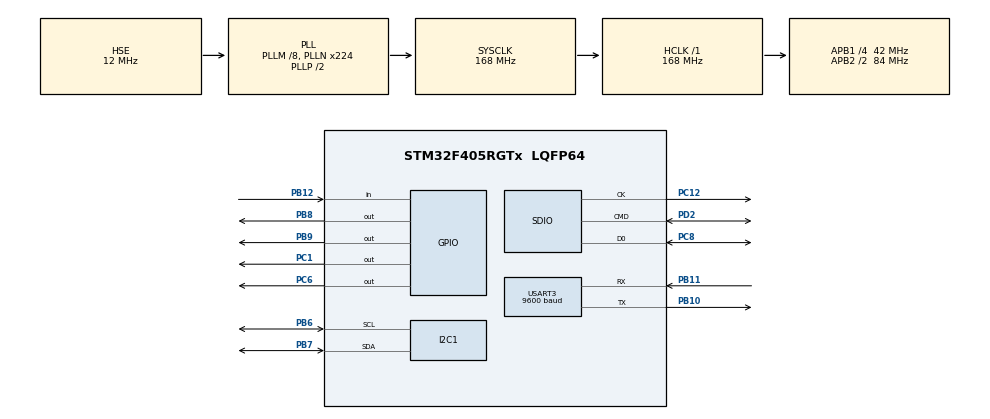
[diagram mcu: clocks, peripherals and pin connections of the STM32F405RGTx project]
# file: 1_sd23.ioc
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Dma.Request0=SDIO_RX
Dma.Request1=SDIO_TX
Dma.Request2=USART3_TX
Dma.Request3=USART3_RX
Dma.SDIO_RX.0.Direction=DMA_PERIPH_TO_MEMORY
Dma.SDIO_RX.0.FIFOMode=DMA_FIFOMODE_ENABLE
Dma.SDIO_RX.0.FIFOThreshold=DMA_FIFO_THRESHOLD_FULL
Dma.SDIO_RX.0.Instance=DMA2_Stream3
Dma.SDIO_RX.0.MemBurst=DMA_MBURST_INC4
Dma.SDIO_RX.0.MemDataAlignment=DMA_MDATAALIGN_WORD
Dma.SDIO_RX.0.MemInc=DMA_MINC_ENABLE
Dma.SDIO_RX.0.Mode=DMA_PFCTRL
Dma.SDIO_RX.0.PeriphBurst=DMA_PBURST_INC4
Dma.SDIO_RX.0.PeriphDataAlignment=DMA_PDATAALIGN_WORD
Dma.SDIO_RX.0.PeriphInc=DMA_PINC_DISABLE
Dma.SDIO_RX.0.Priority=DMA_PRIORITY_LOW
Dma.SDIO_TX.1.Direction=DMA_MEMORY_TO_PERIPH
Dma.SDIO_TX.1.FIFOMode=DMA_FIFOMODE_ENABLE
Dma.SDIO_TX.1.FIFOThreshold=DMA_FIFO_THRESHOLD_FULL
Dma.SDIO_TX.1.Instance=DMA2_Stream6
Dma.SDIO_TX.1.MemBurst=DMA_MBURST_INC4
Dma.SDIO_TX.1.MemDataAlignment=DMA_MDATAALIGN_WORD
Dma.SDIO_TX.1.MemInc=DMA_MINC_ENABLE
Dma.SDIO_TX.1.Mode=DMA_PFCTRL
Dma.SDIO_TX.1.PeriphBurst=DMA_PBURST_INC4
Dma.SDIO_TX.1.PeriphDataAlignment=DMA_PDATAALIGN_WORD
Dma.SDIO_TX.1.PeriphInc=DMA_PINC_DISABLE
Dma.SDIO_TX.1.Priority=DMA_PRIORITY_LOW
Dma.USART3_RX.3.Direction=DMA_PERIPH_TO_MEMORY
Dma.USART3_RX.3.FIFOMode=DMA_FIFOMODE_DISABLE
Dma.USART3_RX.3.Instance=DMA1_Stream1
Dma.USART3_RX.3.MemDataAlignment=DMA_MDATAALIGN_BYTE
Dma.USART3_RX.3.MemInc=DMA_MINC_ENABLE
Dma.USART3_RX.3.Mode=DMA_NORMAL
Dma.USART3_RX.3.PeriphDataAlignment=DMA_PDATAALIGN_BYTE
Dma.USART3_RX.3.PeriphInc=DMA_PINC_DISABLE
Dma.USART3_RX.3.Priority=DMA_PRIORITY_LOW
Dma.USART3_TX.2.Direction=DMA_MEMORY_TO_PERIPH
Dma.USART3_TX.2.FIFOMode=DMA_FIFOMODE_DISABLE
Dma.USART3_TX.2.Instance=DMA1_Stream3
Dma.USART3_TX.2.MemDataAlignment=DMA_MDATAALIGN_BYTE
Dma.USART3_TX.2.MemInc=DMA_MINC_ENABLE
Dma.USART3_TX.2.Mode=DMA_NORMAL
Dma.USART3_TX.2.PeriphDataAlignment=DMA_PDATAALIGN_BYTE
Dma.USART3_TX.2.PeriphInc=DMA_PINC_DISABLE
Dma.USART3_TX.2.Priority=DMA_PRIORITY_LOW
FATFS.BSP.number=1
FATFS.USE_DMA_CODE_SD=1
FATFS0.BSP.STBoard=false
FATFS0.BSP.api=Unknown
FATFS0.BSP.instance=PB12
FATFS0.BSP.ip=GPIO
FATFS0.BSP.mode=Input
FATFS0.BSP.name=Detect_SDIO
FATFS0.BSP.solution=PB12
I2C1.I2C_Mode=I2C_Fast
Mcu.Family=STM32F4
Mcu.Name=STM32F405RGTx
Mcu.Package=LQFP64
NVIC.DMA1_Stream1_IRQn=true\:0\:0\:false\:false\:true\:false\:true\:true
NVIC.DMA1_Stream3_IRQn=true\:0\:0\:false\:false\:true\:false\:true\:true
NVIC.DMA2_Stream3_IRQn=true\:0\:0\:false\:false\:true\:false\:true\:true
NVIC.DMA2_Stream6_IRQn=true\:0\:0\:false\:false\:true\:false\:true\:true
NVIC.PriorityGroup=NVIC_PRIORITYGROUP_4
NVIC.SDIO_IRQn=true\:0\:0\:false\:false\:true\:true\:true\:true
PA13.Mode=Serial_Wire
PA13.Signal=SYS_JTMS-SWDIO
PA14.Mode=Serial_Wire
PA14.Signal=SYS_JTCK-SWCLK
PB10.Mode=Asynchronous
PB10.Signal=USART3_TX
PB11.Mode=Asynchronous
PB11.Signal=USART3_RX
PB12.Signal=GPIO_Input
PB6.Mode=I2C
PB6.Signal=I2C1_SCL
PB7.Mode=I2C
PB7.Signal=I2C1_SDA
PB8.Signal=GPIO_Output
PB9.Signal=GPIO_Output
PC1.Signal=GPIO_Output
PC12.GPIO_PuPd=GPIO_NOPULL
PC12.Mode=SD_1_bit
PC12.Signal=SDIO_CK
PC6.PinState=GPIO_PIN_RESET
PC6.Signal=GPIO_Output
PC8.GPIO_PuPd=GPIO_PULLUP
PC8.Mode=SD_1_bit
PC8.Signal=SDIO_D0
PD2.GPIO_PuPd=GPIO_PULLUP
PD2.Mode=SD_1_bit
PD2.Signal=SDIO_CMD
PH0-OSC_IN.Mode=HSE-External-Oscillator
PH0-OSC_IN.Signal=RCC_OSC_IN
PH1-OSC_OUT.Mode=HSE-External-Oscillator
PH1-OSC_OUT.Signal=RCC_OSC_OUT
ProjectManager.HeapSize=0x200
ProjectManager.StackSize=0x400
ProjectManager.TargetToolchain=STM32CubeIDE
RCC.48MHZClocksFreq_Value=48000000
RCC.AHBFreq_Value=168000000
RCC.APB1CLKDivider=RCC_HCLK_DIV4
RCC.APB1Freq_Value=42000000
RCC.APB1TimFreq_Value=84000000
RCC.APB2CLKDivider=RCC_HCLK_DIV2
RCC.APB2Freq_Value=84000000
RCC.APB2TimFreq_Value=168000000
RCC.CortexFreq_Value=168000000
RCC.DATA_CACHE_ENABLE=0
RCC.HCLKFreq_Value=168000000
RCC.HSE_VALUE=12000000
RCC.HSI_VALUE=16000000
RCC.INSTRUCTION_CACHE_ENABLE=0
RCC.LSE_VALUE=32768
RCC.PLLM=8
RCC.PLLN=224
RCC.PLLQ=7
RCC.PLLSourceVirtual=RCC_PLLSOURCE_HSE
RCC.PREFETCH_ENABLE=0
RCC.SYSCLKFreq_VALUE=168000000
RCC.SYSCLKSource=RCC_SYSCLKSOURCE_PLLCLK
RCC.VCOOutputFreq_Value=336000000
USART3.BaudRate=9600
USART3.VirtualMode=VM_ASYNC
VP_FATFS_VS_SDIO.Mode=SDIO
board=custom

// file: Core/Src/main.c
/* USER CODE BEGIN Header */
/**
  ******************************************************************************
  * @file           : main.c
  * @brief          : Main program body
  ******************************************************************************
  * @attention
  *
  * Copyright (c) 2023 STMicroelectronics.
  * All rights reserved.
  *
  * This software is licensed under terms that can be found in the LICENSE file
  * in the root directory of this software component.
  * If no LICENSE file comes with this software, it is provided AS-IS.
  *
  ******************************************************************************
  */
/* USER CODE END Header */
#include "main.h"
#include "fatfs.h"

/* USER CODE BEGIN Includes */
#include "bluetooth.h"
#include <math.h>

/* USER CODE END Includes */

I2C_HandleTypeDef hi2c1;

SD_HandleTypeDef hsd;
DMA_HandleTypeDef hdma_sdio_rx;
DMA_HandleTypeDef hdma_sdio_tx;

UART_HandleTypeDef huart3;
DMA_HandleTypeDef hdma_usart3_tx;
DMA_HandleTypeDef hdma_usart3_rx;

/* USER CODE BEGIN PV */
BluetoothConfig bluetoothConfig = {
		  .uart = &huart3,
};
BluetoothController bluetoothController;

/* USER CODE END PV */

void SystemClock_Config(void);
static void MX_GPIO_Init(void);
static void MX_DMA_Init(void);
static void MX_I2C1_Init(void);
static void MX_SDIO_SD_Init(void);
static void MX_USART3_UART_Init(void);
/* USER CODE BEGIN PFP */

// IMU related functions
HAL_StatusTypeDef InitIMU();
uint16_t GetAccel();
// File I/O related functions
FRESULT InitFS();

void HAL_UART_RxCpltCallback(UART_HandleTypeDef *huart);
void HAL_UART_TxCpltCallback(UART_HandleTypeDef *huart);

/* USER CODE END PFP */

int main(void)
{

  /* MCU Configuration--------------------------------------------------------*/

  /* Reset of all peripherals, Initializes the Flash interface and the Systick. */
  HAL_Init();

  /* Configure the system clock */
  SystemClock_Config();

  /* Initialize all configured peripherals */
  MX_GPIO_Init();
  MX_DMA_Init();
  MX_I2C1_Init();
  MX_SDIO_SD_Init();
  MX_FATFS_Init();
  MX_USART3_UART_Init();
  /* USER CODE BEGIN 2 */

  FATFS fs;
  HAL_StatusTypeDef ret;
  FRESULT fres;
  FIL f;

  fres = InitFS(&fs);
  if (fres != FR_OK) {
	  Error_Handler();
  }

  HAL_StatusTypeDef res = InitIMU();
  if (res != HAL_OK) {
	  Error_Handler();
  }

  bluetoothConfig.uart->RxCpltCallback = HAL_UART_RxCpltCallback;
  bluetoothConfig.uart->TxCpltCallback = HAL_UART_TxCpltCallback;
  bluetooth_init(&bluetoothConfig, &bluetoothController);

  //Junk begins here
  uint16_t count = 0;
  double val = 0.0;
  double val_x_d = 0.0;
  double val_y_d = 0.0;
  double val_z_d = 0.0;
  int16_t val_x = 0;
  int16_t val_y = 0;
  int16_t val_z = 0;
  uint8_t buf[6] = {0, 0, 0, 0, 0, 0} ;
  uint8_t str[20];
  UINT writeBytes = 0;
  double max_value = 0;
  int sample_count = 50;

  fres = f_open(&f, "log3.txt", FA_CREATE_ALWAYS| FA_WRITE);
  if (fres != FR_OK){
	  Error_Handler();
  }

  /* USER CODE END 2 */

  /* Infinite loop */
  while (1)
  {

    /* USER CODE BEGIN 3 */

	  //HAL_GPIO_TogglePin(GPIOC, GPIO_PIN_1);
	  //HAL_Delay(100);

		ret = HAL_I2C_Mem_Read(&hi2c1, ADXL343_ADDR, ADXL343_REG_DATAX0, 1, buf, 6, 10);
		if (ret != HAL_OK) {
			Error_Handler();
		}

		val_x = (buf[1] << 8) + buf[0];
		val_x_d = ADXL343_SCALE_8G * ((double)val_x);
		val_y = (buf[3] << 8) + buf[2];
		val_y_d = ADXL343_SCALE_8G * ((double)val_y);
		val_z = (buf[5] << 8) + buf[4];
		val_z_d = ADXL343_SCALE_8G * ((double)val_z);
//		val = val_y_d;
		val = sqrt(val_x_d*val_x_d + val_y_d*val_y_d + val_z_d*val_z_d) - 9.2;

	  // collect and log a bunch of samples
	  if (count < 10000) {

		sprintf(str, "%f, %d\n", val, count);
		fres = f_write(&f, str, strlen(str), &writeBytes);
		if (fres != FR_OK){
			return fres;
		}
		/*
		if (f_printf(&f, "%5f, %d\n", val, count) < 0) {
			Error_Handler();
		}
		*/

	  }
	  else if (count == 10000) {
		  fres = f_close(&f);
		  if (fres != FR_OK) {
			  Error_Handler();
		  }
	  }
	  else {
//		  HAL_GPIO_TogglePin(GPIOC, GPIO_PIN_6);
		  HAL_Delay(100);
	  }
		++count;

		double test_value = (val > 0.0) ? val : val*-1;
		if (test_value > max_value) {
			max_value = test_value;
		}

		if (count % sample_count) {
			bluetooth_transmit_value(&bluetoothController, max_value);
			max_value = 0;
		}

		if (test_value >= 5.0) {
		  HAL_GPIO_WritePin(GPIOC, GPIO_PIN_6, 1);
		} else {
			  HAL_GPIO_WritePin(GPIOC, GPIO_PIN_6, 0);
			}
  }
  /* USER CODE END 3 */
}

void SystemClock_Config(void)
{
  RCC_OscInitTypeDef RCC_OscInitStruct = {0};
  RCC_ClkInitTypeDef RCC_ClkInitStruct = {0};

  /** Configure the main internal regulator output voltage
  */
  __HAL_RCC_PWR_CLK_ENABLE();
  __HAL_PWR_VOLTAGESCALING_CONFIG(PWR_REGULATOR_VOLTAGE_SCALE1);

  /** Initializes the RCC Oscillators according to the specified parameters
  * in the RCC_OscInitTypeDef structure.
  */
  RCC_OscInitStruct.OscillatorType = RCC_OSCILLATORTYPE_HSE;
  RCC_OscInitStruct.HSEState = RCC_HSE_ON;
  RCC_OscInitStruct.PLL.PLLState = RCC_PLL_ON;
  RCC_OscInitStruct.PLL.PLLSource = RCC_PLLSOURCE_HSE;
  RCC_OscInitStruct.PLL.PLLM = 8;
  RCC_OscInitStruct.PLL.PLLN = 224;
  RCC_OscInitStruct.PLL.PLLP = RCC_PLLP_DIV2;
  RCC_OscInitStruct.PLL.PLLQ = 7;
  if (HAL_RCC_OscConfig(&RCC_OscInitStruct) != HAL_OK)
  {
    Error_Handler();
  }

  /** Initializes the CPU, AHB and APB buses clocks
  */
  RCC_ClkInitStruct.ClockType = RCC_CLOCKTYPE_HCLK|RCC_CLOCKTYPE_SYSCLK
                              |RCC_CLOCKTYPE_PCLK1|RCC_CLOCKTYPE_PCLK2;
  RCC_ClkInitStruct.SYSCLKSource = RCC_SYSCLKSOURCE_PLLCLK;
  RCC_ClkInitStruct.AHBCLKDivider = RCC_SYSCLK_DIV1;
  RCC_ClkInitStruct.APB1CLKDivider = RCC_HCLK_DIV4;
  RCC_ClkInitStruct.APB2CLKDivider = RCC_HCLK_DIV2;

  if (HAL_RCC_ClockConfig(&RCC_ClkInitStruct, FLASH_LATENCY_5) != HAL_OK)
  {
    Error_Handler();
  }
}

static void MX_I2C1_Init(void)
{

  hi2c1.Instance = I2C1;
  hi2c1.Init.ClockSpeed = 400000;
  hi2c1.Init.DutyCycle = I2C_DUTYCYCLE_2;
  hi2c1.Init.OwnAddress1 = 0;
  hi2c1.Init.AddressingMode = I2C_ADDRESSINGMODE_7BIT;
  hi2c1.Init.DualAddressMode = I2C_DUALADDRESS_DISABLE;
  hi2c1.Init.OwnAddress2 = 0;
  hi2c1.Init.GeneralCallMode = I2C_GENERALCALL_DISABLE;
  hi2c1.Init.NoStretchMode = I2C_NOSTRETCH_DISABLE;
  if (HAL_I2C_Init(&hi2c1) != HAL_OK)
  {
    Error_Handler();
  }

}

static void MX_SDIO_SD_Init(void)
{

  hsd.Instance = SDIO;
  hsd.Init.ClockEdge = SDIO_CLOCK_EDGE_RISING;
  hsd.Init.ClockBypass = SDIO_CLOCK_BYPASS_DISABLE;
  hsd.Init.ClockPowerSave = SDIO_CLOCK_POWER_SAVE_DISABLE;
  hsd.Init.BusWide = SDIO_BUS_WIDE_1B;
  hsd.Init.HardwareFlowControl = SDIO_HARDWARE_FLOW_CONTROL_DISABLE;
  hsd.Init.ClockDiv = 0;

}

static void MX_USART3_UART_Init(void)
{

  huart3.Instance = USART3;
  huart3.Init.BaudRate = 9600;
  huart3.Init.WordLength = UART_WORDLENGTH_8B;
  huart3.Init.StopBits = UART_STOPBITS_1;
  huart3.Init.Parity = UART_PARITY_NONE;
  huart3.Init.Mode = UART_MODE_TX_RX;
  huart3.Init.HwFlowCtl = UART_HWCONTROL_NONE;
  huart3.Init.OverSampling = UART_OVERSAMPLING_16;
  if (HAL_UART_Init(&huart3) != HAL_OK)
  {
    Error_Handler();
  }

}

static void MX_DMA_Init(void)
{

  /* DMA controller clock enable */
  __HAL_RCC_DMA2_CLK_ENABLE();
  __HAL_RCC_DMA1_CLK_ENABLE();

  /* DMA interrupt init */
  /* DMA1_Stream1_IRQn interrupt configuration */
  HAL_NVIC_SetPriority(DMA1_Stream1_IRQn, 0, 0);
  HAL_NVIC_EnableIRQ(DMA1_Stream1_IRQn);
  /* DMA1_Stream3_IRQn interrupt configuration */
  HAL_NVIC_SetPriority(DMA1_Stream3_IRQn, 0, 0);
  HAL_NVIC_EnableIRQ(DMA1_Stream3_IRQn);
  /* DMA2_Stream3_IRQn interrupt configuration */
  HAL_NVIC_SetPriority(DMA2_Stream3_IRQn, 0, 0);
  HAL_NVIC_EnableIRQ(DMA2_Stream3_IRQn);
  /* DMA2_Stream6_IRQn interrupt configuration */
  HAL_NVIC_SetPriority(DMA2_Stream6_IRQn, 0, 0);
  HAL_NVIC_EnableIRQ(DMA2_Stream6_IRQn);

}

static void MX_GPIO_Init(void)
{
  GPIO_InitTypeDef GPIO_InitStruct = {0};

  /* GPIO Ports Clock Enable */
  __HAL_RCC_GPIOH_CLK_ENABLE();
  __HAL_RCC_GPIOC_CLK_ENABLE();
  __HAL_RCC_GPIOB_CLK_ENABLE();
  __HAL_RCC_GPIOA_CLK_ENABLE();
  __HAL_RCC_GPIOD_CLK_ENABLE();

  /*Configure GPIO pin Output Level */
  HAL_GPIO_WritePin(GPIOC, GPIO_PIN_1|GPIO_PIN_6, GPIO_PIN_RESET);

  /*Configure GPIO pin Output Level */
  HAL_GPIO_WritePin(GPIOB, GPIO_PIN_8|GPIO_PIN_9, GPIO_PIN_RESET);

  /*Configure GPIO pins : PC1 PC6 */
  GPIO_InitStruct.Pin = GPIO_PIN_1|GPIO_PIN_6;
  GPIO_InitStruct.Mode = GPIO_MODE_OUTPUT_PP;
  GPIO_InitStruct.Pull = GPIO_NOPULL;
  GPIO_InitStruct.Speed = GPIO_SPEED_FREQ_LOW;
  HAL_GPIO_Init(GPIOC, &GPIO_InitStruct);

  /*Configure GPIO pin : PB12 */
  GPIO_InitStruct.Pin = GPIO_PIN_12;
  GPIO_InitStruct.Mode = GPIO_MODE_INPUT;
  GPIO_InitStruct.Pull = GPIO_NOPULL;
  HAL_GPIO_Init(GPIOB, &GPIO_InitStruct);

  /*Configure GPIO pins : PB8 PB9 */
  GPIO_InitStruct.Pin = GPIO_PIN_8|GPIO_PIN_9;
  GPIO_InitStruct.Mode = GPIO_MODE_OUTPUT_PP;
  GPIO_InitStruct.Pull = GPIO_NOPULL;
  GPIO_InitStruct.Speed = GPIO_SPEED_FREQ_LOW;
  HAL_GPIO_Init(GPIOB, &GPIO_InitStruct);

}

/* USER CODE BEGIN 4 */

HAL_StatusTypeDef InitIMU() {

	HAL_StatusTypeDef ret;
	uint8_t buf[1] = {0};

	//TODO: ASXL343 has a built in self-test. Use it?
	ret = HAL_I2C_Mem_Read(&hi2c1, ADXL343_ADDR, ADXL343_REG_DEVID, 1, buf, 1, 10);
	if (ret != HAL_OK) {
		return ret;
	}
	if (buf[0] != 0xe5) {	//check device id
		return HAL_ERROR;
	}

	// configure interrupts
	buf[0] = 0b00000000;		// disable all interrupts for now
	ret = HAL_I2C_Mem_Write(&hi2c1, ADXL343_ADDR, ADXL343_REG_INTENABLE, 1, buf, 1, 10);
	if (ret != HAL_OK) {
		return ret;
	}

	// set the data format and range
	buf[0] = 0b00000010;		// set to +/-8g max
	ret = HAL_I2C_Mem_Write(&hi2c1, ADXL343_ADDR, ADXL343_REG_DATAFORMAT, 1, buf, 1, 10);
	if (ret != HAL_OK) {
		return ret;
	}

	// set the data rate and power mode
	buf[0] = 0b00001101;		// set to 800 Hz, normal operation mode
	ret = HAL_I2C_Mem_Write(&hi2c1, ADXL343_ADDR, ADXL343_REG_BWRATE, 1, buf, 1, 10);
	if (ret != HAL_OK) {
		return ret;
	}

	// set the fifo operation mode
	buf[0] = 0b00000000;		// set fifo to bypass
	ret = HAL_I2C_Mem_Write(&hi2c1, ADXL343_ADDR, ADXL343_REG_FIFOCTL, 1, buf, 1, 10);
	if (ret != HAL_OK) {
		return ret;
	}

	// set the power/sleep settings
	buf[0] = 0b00001000;		// sets device in measurement mode
	ret = HAL_I2C_Mem_Write(&hi2c1, ADXL343_ADDR, ADXL343_REG_PWRCTL, 1, buf, 1, 10);
	if (ret != HAL_OK) {
		return ret;
	}
	return HAL_OK;
}

uint16_t GetAccel() {

	return 0;
}

FRESULT InitFS(FATFS *fs){
  FIL f;
  FRESULT fres;
  char buf[6] = "Hello";
  UINT writeBytes;

  // Re-initialize SD
  if ( BSP_SD_Init() != MSD_OK ) {
    return FR_NOT_READY;
  }
  // Re-initialize FATFS
  if ( FATFS_UnLinkDriver(SDPath) != 0 ) {
    return FR_NOT_READY;
  }
  if ( FATFS_LinkDriver(&SD_Driver, SDPath) != 0 ) {
    return FR_NOT_READY;
  }

  fres = f_mount(fs, SDPath, 0);
  if (fres != FR_OK){
	  return fres;
  }
  fres = f_open(&f, "test.txt", FA_CREATE_ALWAYS | FA_WRITE);
  if (fres != FR_OK){
	  return fres;
  }
  fres = f_write(&f, buf, 5, &writeBytes);
  if (fres != FR_OK){
	  return fres;
  }
  fres = f_close(&f);		// close also syncs the file
  if (fres != FR_OK){
	  return fres;
  }
  return FR_OK;
}

void HAL_UART_RxCpltCallback(UART_HandleTypeDef *huart)
{
	if (huart == bluetoothConfig.uart) {
		bluetooth_uart_rx(&bluetoothController);
	}
}

void HAL_UART_TxCpltCallback(UART_HandleTypeDef *huart)
{
	if (huart == bluetoothConfig.uart) {
		bluetooth_uart_tx(&bluetoothController);
	}
}

/* USER CODE END 4 */

void Error_Handler(void)
{
  __disable_irq();
  while (1)
  {
  }
}
